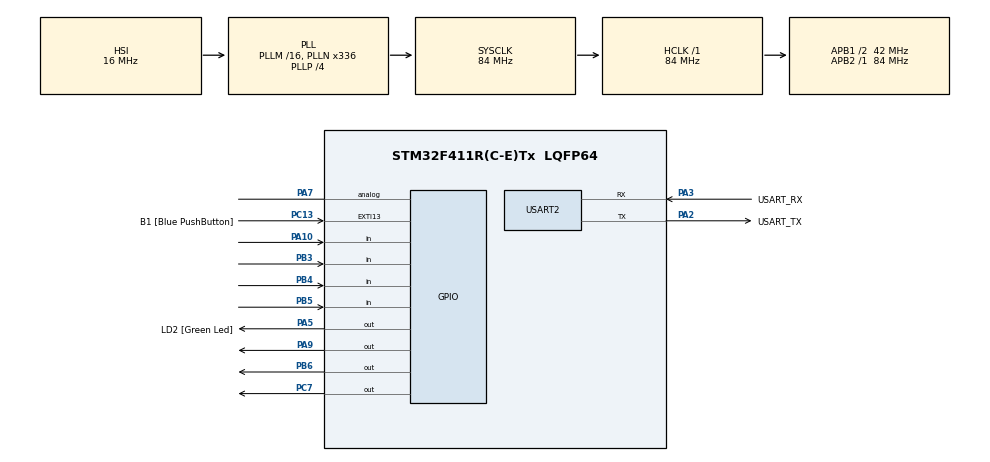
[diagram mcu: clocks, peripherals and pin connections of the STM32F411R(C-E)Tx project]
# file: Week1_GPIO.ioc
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Mcu.Family=STM32F4
Mcu.Name=STM32F411R(C-E)Tx
Mcu.Package=LQFP64
NVIC.PriorityGroup=NVIC_PRIORITYGROUP_0
PA10.Signal=GPIO_Input
PA13.GPIO_Label=TMS
PA13.Mode=Serial_Wire
PA13.Signal=SYS_JTMS-SWDIO
PA14.GPIO_Label=TCK
PA14.Mode=Serial_Wire
PA14.Signal=SYS_JTCK-SWCLK
PA2.GPIO_Label=USART_TX
PA2.Mode=Asynchronous
PA2.Signal=USART2_TX
PA3.GPIO_Label=USART_RX
PA3.Mode=Asynchronous
PA3.Signal=USART2_RX
PA5.GPIO_Label=LD2 [Green Led]
PA5.Signal=GPIO_Output
PA7.Signal=GPIO_Analog
PA9.Signal=GPIO_Output
PB3.Signal=GPIO_Input
PB4.Signal=GPIO_Input
PB5.Signal=GPIO_Input
PB6.Signal=GPIO_Output
PC13-ANTI_TAMP.GPIO_Label=B1 [Blue PushButton]
PC13-ANTI_TAMP.GPIO_ModeDefaultEXTI=GPIO_MODE_IT_FALLING
PC13-ANTI_TAMP.Signal=GPXTI13
PC14-OSC32_IN.Mode=LSE-External-Oscillator
PC14-OSC32_IN.Signal=RCC_OSC32_IN
PC15-OSC32_OUT.Mode=LSE-External-Oscillator
PC15-OSC32_OUT.Signal=RCC_OSC32_OUT
PC7.Signal=GPIO_Output
PH0\ -\ OSC_IN.Mode=HSE-External-Clock-Source
PH0\ -\ OSC_IN.Signal=RCC_OSC_IN
PH1\ -\ OSC_OUT.Mode=HSE-External-Clock-Source
PH1\ -\ OSC_OUT.Signal=RCC_OSC_OUT
ProjectManager.HeapSize=0x200
ProjectManager.StackSize=0x400
ProjectManager.TargetToolchain=STM32CubeIDE
RCC.48MHZClocksFreq_Value=84000000
RCC.AHBFreq_Value=84000000
RCC.APB1CLKDivider=RCC_HCLK_DIV2
RCC.APB1Freq_Value=42000000
RCC.APB1TimFreq_Value=84000000
RCC.APB2Freq_Value=84000000
RCC.APB2TimFreq_Value=84000000
RCC.CortexFreq_Value=84000000
RCC.FLatency-AdvancedSettings=FLASH_LATENCY_2
RCC.HCLKFreq_Value=84000000
RCC.HSE_VALUE=8000000
RCC.HSI_VALUE=16000000
RCC.PLLN=336
RCC.PLLP=RCC_PLLP_DIV4
RCC.SYSCLKFreq_VALUE=84000000
RCC.SYSCLKSource=RCC_SYSCLKSOURCE_PLLCLK
RCC.VCOOutputFreq_Value=336000000
USART2.VirtualMode=VM_ASYNC
board=NUCLEO-F411RE

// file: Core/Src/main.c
/* USER CODE BEGIN Header */
/**
 ******************************************************************************
 * @file           : main.c
 * @brief          : Main program body
 ******************************************************************************
 * @attention
 *
 * <h2><center>&copy; Copyright (c) 2021 STMicroelectronics.
 * All rights reserved.</center></h2>
 *
 * This software component is licensed by ST under BSD 3-Clause license,
 * the "License"; You may not use this file except in compliance with the
 * License. You may obtain a copy of the License at:
 *                        opensource.org/licenses/BSD-3-Clause
 *
 ******************************************************************************
 */
/* USER CODE END Header */
#include "main.h"

UART_HandleTypeDef huart2;

void SystemClock_Config(void);
static void MX_GPIO_Init(void);
static void MX_USART2_UART_Init(void);

int main(void)
{

  /* MCU Configuration--------------------------------------------------------*/

  /* Reset of all peripherals, Initializes the Flash interface and the Systick. */
  HAL_Init();

  /* Configure the system clock */
  SystemClock_Config();

  /* Initialize all configured peripherals */
  MX_GPIO_Init();
  MX_USART2_UART_Init();
  /* USER CODE BEGIN 2 */
	GPIO_PinState SwitchStateS1[2];	//NOW,LAST
	GPIO_PinState SwitchStateS2[2];
	GPIO_PinState SwitchStateS3[2];
	GPIO_PinState SwitchStateS4[2];
	uint16_t LED1_HalfPeriod = 0;
	uint32_t TimeStamp = 0;
	uint32_t TimeStamp2 = 0;
	uint32_t ButtonTimeStamp = 0;
	uint8_t LEDState = 0;
	uint8_t StateLED1 = 0;
	uint8_t StateLED3 = 0;
	uint16_t LED3_TimePeriodOn = 0;
	uint16_t LED3_TimePeriodOff = 0;

	enum StateLED1 {
		LED1_0 = 0, LED1_1, LED1_2, LED1_3
	};
	enum StateLED3 {
		LED3_0 = 0, LED3_1
	};
  /* USER CODE END 2 */

  /* Infinite loop */
  /* USER CODE BEGIN WHILE */
	while (1) {
		if (HAL_GetTick() - ButtonTimeStamp >= 100) {
			ButtonTimeStamp = HAL_GetTick();
			//switch press is LOW
			SwitchStateS1[0] = HAL_GPIO_ReadPin(GPIOA, GPIO_PIN_10);
			SwitchStateS2[0] = HAL_GPIO_ReadPin(GPIOB, GPIO_PIN_3);
			SwitchStateS3[0] = HAL_GPIO_ReadPin(GPIOB, GPIO_PIN_5);
			SwitchStateS4[0] = HAL_GPIO_ReadPin(GPIOB, GPIO_PIN_4);

			// Switch S1
			if (SwitchStateS1[1] == GPIO_PIN_SET
					&& SwitchStateS1[0] == GPIO_PIN_RESET) {
				//Change Half Period of LED 1
				switch (StateLED1) {
				case LED1_0:
					StateLED1 = LED1_1;
					LED1_HalfPeriod = 1000;
					break;
				case LED1_1:
					StateLED1 = LED1_2;
					LED1_HalfPeriod = LED1_HalfPeriod / 2;
					break;
				case LED1_2:
					StateLED1 = LED1_3;
					LED1_HalfPeriod = LED1_HalfPeriod / 2;
					break;
				case LED1_3:
					LED1_HalfPeriod = LED1_HalfPeriod / 2;
					StateLED1 = LED1_0;
					break;
				default:
					StateLED1 = LED1_0;
					LED1_HalfPeriod = 1000;
					break;
				}
			}

			// Switch S2
			if (SwitchStateS2[1] == GPIO_PIN_SET
					&& SwitchStateS2[0] == GPIO_PIN_RESET) {
				if (HAL_GPIO_ReadPin(GPIOC, GPIO_PIN_7) == GPIO_PIN_SET) {
					HAL_GPIO_WritePin(GPIOC, GPIO_PIN_7, GPIO_PIN_RESET);
				} else if (HAL_GPIO_ReadPin(GPIOC, GPIO_PIN_7)
						== GPIO_PIN_RESET) {
					HAL_GPIO_WritePin(GPIOC, GPIO_PIN_7, GPIO_PIN_SET);
				}
			}

			// Switch S3
			if (SwitchStateS3[1] == GPIO_PIN_SET
					&& SwitchStateS3[0] == GPIO_PIN_RESET) {
				switch (StateLED3) {
				case LED3_0:
					LED3_TimePeriodOn = 500;
					LED3_TimePeriodOff = 1500;
					StateLED3 = LED3_0;
					break;
				case LED3_1:
					LED3_TimePeriodOn = 1500;
					LED3_TimePeriodOff = 500;
					StateLED3 = LED3_1;
					break;
				default:
					StateLED3 = LED3_0;
					break;
				}
			}
			SwitchStateS1[1] = SwitchStateS1[0];
			SwitchStateS2[1] = SwitchStateS2[0];
			SwitchStateS3[1] = SwitchStateS3[0];
			SwitchStateS4[1] = SwitchStateS4[0];
		}

		//Run LED1
		if (HAL_GetTick() - TimeStamp >= LED1_HalfPeriod) {
			TimeStamp = HAL_GetTick();
			if (HAL_GPIO_ReadPin(GPIOA, GPIO_PIN_9) == GPIO_PIN_SET) {
				HAL_GPIO_WritePin(GPIOA, GPIO_PIN_9, GPIO_PIN_RESET);
			} else {
				HAL_GPIO_WritePin(GPIOA, GPIO_PIN_9, GPIO_PIN_SET);
			}
		}

		// Run LED3
		if (LEDState == GPIO_PIN_RESET) {
			if (HAL_GetTick() - TimeStamp2 >= LED3_TimePeriodOn) {
				LEDState = GPIO_PIN_SET;
				TimeStamp2 = HAL_GetTick();
				HAL_GPIO_WritePin(GPIOB, GPIO_PIN_6, GPIO_PIN_SET);
			}
		} else {
			if (HAL_GetTick() - TimeStamp2 >= LED3_TimePeriodOff) {
				LEDState = GPIO_PIN_RESET;
				TimeStamp2 = HAL_GetTick();
				HAL_GPIO_WritePin(GPIOB, GPIO_PIN_6, GPIO_PIN_RESET);

			}
		}
	}

    /* USER CODE END WHILE */

}

void SystemClock_Config(void)
{
  RCC_OscInitTypeDef RCC_OscInitStruct = {0};
  RCC_ClkInitTypeDef RCC_ClkInitStruct = {0};

  /** Configure the main internal regulator output voltage
  */
  __HAL_RCC_PWR_CLK_ENABLE();
  __HAL_PWR_VOLTAGESCALING_CONFIG(PWR_REGULATOR_VOLTAGE_SCALE1);
  /** Initializes the RCC Oscillators according to the specified parameters
  * in the RCC_OscInitTypeDef structure.
  */
  RCC_OscInitStruct.OscillatorType = RCC_OSCILLATORTYPE_HSI;
  RCC_OscInitStruct.HSIState = RCC_HSI_ON;
  RCC_OscInitStruct.HSICalibrationValue = RCC_HSICALIBRATION_DEFAULT;
  RCC_OscInitStruct.PLL.PLLState = RCC_PLL_ON;
  RCC_OscInitStruct.PLL.PLLSource = RCC_PLLSOURCE_HSI;
  RCC_OscInitStruct.PLL.PLLM = 16;
  RCC_OscInitStruct.PLL.PLLN = 336;
  RCC_OscInitStruct.PLL.PLLP = RCC_PLLP_DIV4;
  RCC_OscInitStruct.PLL.PLLQ = 4;
  if (HAL_RCC_OscConfig(&RCC_OscInitStruct) != HAL_OK)
  {
    Error_Handler();
  }
  /** Initializes the CPU, AHB and APB buses clocks
  */
  RCC_ClkInitStruct.ClockType = RCC_CLOCKTYPE_HCLK|RCC_CLOCKTYPE_SYSCLK
                              |RCC_CLOCKTYPE_PCLK1|RCC_CLOCKTYPE_PCLK2;
  RCC_ClkInitStruct.SYSCLKSource = RCC_SYSCLKSOURCE_PLLCLK;
  RCC_ClkInitStruct.AHBCLKDivider = RCC_SYSCLK_DIV1;
  RCC_ClkInitStruct.APB1CLKDivider = RCC_HCLK_DIV2;
  RCC_ClkInitStruct.APB2CLKDivider = RCC_HCLK_DIV1;

  if (HAL_RCC_ClockConfig(&RCC_ClkInitStruct, FLASH_LATENCY_2) != HAL_OK)
  {
    Error_Handler();
  }
}

static void MX_USART2_UART_Init(void)
{

  huart2.Instance = USART2;
  huart2.Init.BaudRate = 115200;
  huart2.Init.WordLength = UART_WORDLENGTH_8B;
  huart2.Init.StopBits = UART_STOPBITS_1;
  huart2.Init.Parity = UART_PARITY_NONE;
  huart2.Init.Mode = UART_MODE_TX_RX;
  huart2.Init.HwFlowCtl = UART_HWCONTROL_NONE;
  huart2.Init.OverSampling = UART_OVERSAMPLING_16;
  if (HAL_UART_Init(&huart2) != HAL_OK)
  {
    Error_Handler();
  }

}

static void MX_GPIO_Init(void)
{
  GPIO_InitTypeDef GPIO_InitStruct = {0};

  /* GPIO Ports Clock Enable */
  __HAL_RCC_GPIOC_CLK_ENABLE();
  __HAL_RCC_GPIOH_CLK_ENABLE();
  __HAL_RCC_GPIOA_CLK_ENABLE();
  __HAL_RCC_GPIOB_CLK_ENABLE();

  /*Configure GPIO pin Output Level */
  HAL_GPIO_WritePin(GPIOA, LD2_Pin|GPIO_PIN_9, GPIO_PIN_RESET);

  /*Configure GPIO pin Output Level */
  HAL_GPIO_WritePin(GPIOC, GPIO_PIN_7, GPIO_PIN_RESET);

  /*Configure GPIO pin Output Level */
  HAL_GPIO_WritePin(GPIOB, GPIO_PIN_6, GPIO_PIN_RESET);

  /*Configure GPIO pin : B1_Pin */
  GPIO_InitStruct.Pin = B1_Pin;
  GPIO_InitStruct.Mode = GPIO_MODE_IT_FALLING;
  GPIO_InitStruct.Pull = GPIO_NOPULL;
  HAL_GPIO_Init(B1_GPIO_Port, &GPIO_InitStruct);

  /*Configure GPIO pins : LD2_Pin PA9 */
  GPIO_InitStruct.Pin = LD2_Pin|GPIO_PIN_9;
  GPIO_InitStruct.Mode = GPIO_MODE_OUTPUT_PP;
  GPIO_InitStruct.Pull = GPIO_NOPULL;
  GPIO_InitStruct.Speed = GPIO_SPEED_FREQ_LOW;
  HAL_GPIO_Init(GPIOA, &GPIO_InitStruct);

  /*Configure GPIO pin : PA7 */
  GPIO_InitStruct.Pin = GPIO_PIN_7;
  GPIO_InitStruct.Mode = GPIO_MODE_ANALOG;
  GPIO_InitStruct.Pull = GPIO_NOPULL;
  HAL_GPIO_Init(GPIOA, &GPIO_InitStruct);

  /*Configure GPIO pin : PC7 */
  GPIO_InitStruct.Pin = GPIO_PIN_7;
  GPIO_InitStruct.Mode = GPIO_MODE_OUTPUT_PP;
  GPIO_InitStruct.Pull = GPIO_NOPULL;
  GPIO_InitStruct.Speed = GPIO_SPEED_FREQ_LOW;
  HAL_GPIO_Init(GPIOC, &GPIO_InitStruct);

  /*Configure GPIO pin : PA10 */
  GPIO_InitStruct.Pin = GPIO_PIN_10;
  GPIO_InitStruct.Mode = GPIO_MODE_INPUT;
  GPIO_InitStruct.Pull = GPIO_NOPULL;
  HAL_GPIO_Init(GPIOA, &GPIO_InitStruct);

  /*Configure GPIO pins : PB3 PB4 PB5 */
  GPIO_InitStruct.Pin = GPIO_PIN_3|GPIO_PIN_4|GPIO_PIN_5;
  GPIO_InitStruct.Mode = GPIO_MODE_INPUT;
  GPIO_InitStruct.Pull = GPIO_NOPULL;
  HAL_GPIO_Init(GPIOB, &GPIO_InitStruct);

  /*Configure GPIO pin : PB6 */
  GPIO_InitStruct.Pin = GPIO_PIN_6;
  GPIO_InitStruct.Mode = GPIO_MODE_OUTPUT_PP;
  GPIO_InitStruct.Pull = GPIO_NOPULL;
  GPIO_InitStruct.Speed = GPIO_SPEED_FREQ_LOW;
  HAL_GPIO_Init(GPIOB, &GPIO_InitStruct);

}

void Error_Handler(void)
{
	__disable_irq();
	while (1) {
	}
}

/************************ (C) COPYRIGHT STMicroelectronics *****END OF FILE****/
